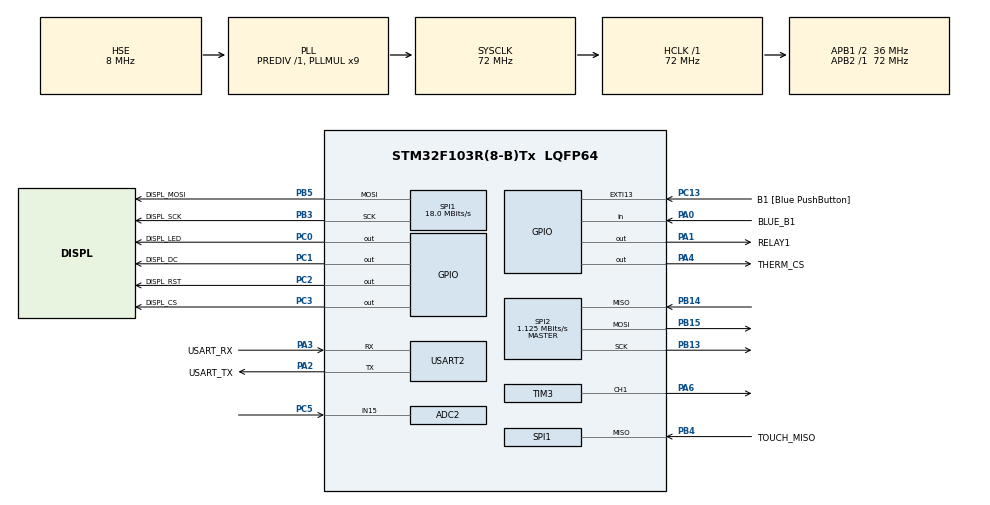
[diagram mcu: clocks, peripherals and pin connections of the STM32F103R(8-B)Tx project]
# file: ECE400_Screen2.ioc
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ADC1.Channel-0\#ChannelRegularConversion=ADC_CHANNEL_TEMPSENSOR
ADC1.ContinuousConvMode=ENABLE
ADC1.NbrOfConversionFlag=1
ADC1.Rank-0\#ChannelRegularConversion=1
ADC1.SamplingTime-0\#ChannelRegularConversion=ADC_SAMPLETIME_1CYCLE_5
ADC1.master=1
ADC2.Channel-1\#ChannelRegularConversion=ADC_CHANNEL_15
ADC2.ContinuousConvMode=ENABLE
ADC2.NbrOfConversionFlag=1
ADC2.Rank-1\#ChannelRegularConversion=1
ADC2.SamplingTime-1\#ChannelRegularConversion=ADC_SAMPLETIME_1CYCLE_5
Mcu.Family=STM32F1
Mcu.Name=STM32F103R(8-B)Tx
Mcu.Package=LQFP64
NVIC.EXTI15_10_IRQn=true\:0\:0\:false\:false\:true\:true\:true\:true
NVIC.PriorityGroup=NVIC_PRIORITYGROUP_4
NVIC.TIM2_IRQn=true\:0\:0\:false\:false\:true\:true\:true\:true
PA0-WKUP.GPIO_Label=BLUE_B1
PA0-WKUP.GPIO_PuPd=GPIO_PULLDOWN
PA0-WKUP.Signal=GPIO_Input
PA1.GPIO_Label=RELAY1
PA1.Signal=GPIO_Output
PA13.GPIO_Label=TMS
PA13.Mode=Serial_Wire
PA13.Signal=SYS_JTMS-SWDIO
PA14.GPIO_Label=TCK
PA14.Mode=Serial_Wire
PA14.Signal=SYS_JTCK-SWCLK
PA2.GPIO_Label=USART_TX
PA2.GPIO_Mode=GPIO_MODE_AF_PP
PA2.GPIO_PuPd=GPIO_NOPULL
PA2.GPIO_Speed=GPIO_SPEED_FREQ_LOW
PA2.Mode=Asynchronous
PA2.Signal=USART2_TX
PA3.GPIO_Label=USART_RX
PA3.GPIO_Mode=GPIO_MODE_AF_PP
PA3.GPIO_PuPd=GPIO_NOPULL
PA3.GPIO_Speed=GPIO_SPEED_FREQ_LOW
PA3.Mode=Asynchronous
PA3.Signal=USART2_RX
PA4.GPIO_Label=THERM_CS
PA4.Signal=GPIO_Output
PA6.Signal=S_TIM3_CH1
PB13.Mode=Full_Duplex_Master
PB13.Signal=SPI2_SCK
PB14.Mode=Full_Duplex_Master
PB14.Signal=SPI2_MISO
PB15.Mode=Full_Duplex_Master
PB15.Signal=SPI2_MOSI
PB3.GPIO_Label=DISPL_SCK
PB3.Mode=Full_Duplex_Master
PB3.Signal=SPI1_SCK
PB4.GPIO_Label=TOUCH_MISO
PB4.Mode=Full_Duplex_Master
PB4.Signal=SPI1_MISO
PB5.GPIO_Label=DISPL_MOSI
PB5.Mode=Full_Duplex_Master
PB5.Signal=SPI1_MOSI
PC0.GPIO_Label=DISPL_LED
PC0.Signal=GPIO_Output
PC1.GPIO_Label=DISPL_DC
PC1.Signal=GPIO_Output
PC13-TAMPER-RTC.GPIO_Label=B1 [Blue PushButton]
PC13-TAMPER-RTC.GPIO_PuPd=GPIO_NOPULL
PC13-TAMPER-RTC.Signal=GPXTI13
PC14-OSC32_IN.Mode=LSE-External-Oscillator
PC14-OSC32_IN.Signal=RCC_OSC32_IN
PC15-OSC32_OUT.Mode=LSE-External-Oscillator
PC15-OSC32_OUT.Signal=RCC_OSC32_OUT
PC2.GPIO_Label=DISPL_RST
PC2.Signal=GPIO_Output
PC3.GPIO_Label=DISPL_CS
PC3.GPIO_Speed=GPIO_SPEED_FREQ_LOW
PC3.PinState=GPIO_PIN_SET
PC3.Signal=GPIO_Output
PC5.Signal=ADCx_IN15
PD0-OSC_IN.Mode=HSE-External-Clock-Source
PD0-OSC_IN.Signal=RCC_OSC_IN
PD1-OSC_OUT.Mode=HSE-External-Clock-Source
PD1-OSC_OUT.Signal=RCC_OSC_OUT
ProjectManager.HeapSize=0x200
ProjectManager.StackSize=0x400
ProjectManager.TargetToolchain=STM32CubeIDE
RCC.ADCPresc=RCC_ADCPCLK2_DIV6
RCC.AHBFreq_Value=72000000
RCC.APB1CLKDivider=RCC_HCLK_DIV2
RCC.APB1Freq_Value=36000000
RCC.APB1TimFreq_Value=72000000
RCC.APB2Freq_Value=72000000
RCC.APB2TimFreq_Value=72000000
RCC.HCLKFreq_Value=72000000
RCC.PLLMUL=RCC_PLL_MUL9
RCC.PLLSourceVirtual=RCC_PLLSOURCE_HSE
RCC.RTCClockSelection=RCC_RTCCLKSOURCE_LSE
RCC.SYSCLKFreq_VALUE=72000000
RCC.SYSCLKSource=RCC_SYSCLKSOURCE_PLLCLK
RCC.USBFreq_Value=72000000
SH.ADCx_IN15.0=ADC2_IN15,IN15
SH.S_TIM3_CH1.0=TIM3_CH1,PWM Generation1 CH1
SPI1.BaudRatePrescaler=SPI_BAUDRATEPRESCALER_4
SPI1.CalculateBaudRate=18.0 MBits/s
SPI1.Direction=SPI_DIRECTION_2LINES
SPI1.Mode=SPI_MODE_MASTER
SPI1.VirtualType=VM_MASTER
SPI2.BaudRatePrescaler=SPI_BAUDRATEPRESCALER_32
SPI2.CalculateBaudRate=1.125 MBits/s
SPI2.Direction=SPI_DIRECTION_2LINES
SPI2.Mode=SPI_MODE_MASTER
SPI2.VirtualType=VM_MASTER
TIM2.Period=666
TIM2.Prescaler=7199
TIM3.Channel-PWM\ Generation1\ CH1=TIM_CHANNEL_1
USART2.VirtualMode=VM_ASYNC
VP_ADC1_TempSens_Input.Mode=IN-TempSens
VP_ADC1_Vref_Input.Mode=IN-Vrefint
VP_TIM2_VS_ClockSourceINT.Mode=Internal
VP_TIM3_VS_ClockSourceINT.Mode=Internal
board=NUCLEO-F103RB

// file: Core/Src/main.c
/* USER CODE BEGIN Header */
/**
  ******************************************************************************
  * @file           : main.c
  * @brief          : Main program body
  ******************************************************************************
  * @attention
  *
  * Copyright (c) 2025 STMicroelectronics.
  * All rights reserved.
  *
  * This software is licensed under terms that can be found in the LICENSE file
  * in the root directory of this software component.
  * If no LICENSE file comes with this software, it is provided AS-IS.
  *
  ******************************************************************************
  */
/* USER CODE END Header */
#include "main.h"

/* USER CODE BEGIN Includes */
#include "menus.h" // This makes menus.c active, with all its functions (struct defined in menus.c)
#include "max31856.h"
/* USER CODE END Includes */

ADC_HandleTypeDef hadc1;
ADC_HandleTypeDef hadc2;

SPI_HandleTypeDef hspi1;
SPI_HandleTypeDef hspi2;

TIM_HandleTypeDef htim2;
TIM_HandleTypeDef htim3;

UART_HandleTypeDef huart2;

void SystemClock_Config(void);
static void MX_GPIO_Init(void);
static void MX_USART2_UART_Init(void);
static void MX_SPI1_Init(void);
static void MX_ADC1_Init(void);
static void MX_TIM3_Init(void);
static void MX_ADC2_Init(void);
static void MX_SPI2_Init(void);
static void MX_TIM2_Init(void);

/* USER CODE BEGIN 0 */
volatile uint8_t tim4Flag=0;
volatile uint8_t counter=0;
void HAL_TIM_PeriodElapsedCallback(TIM_HandleTypeDef *htim)
{
  // Check if the interrupt is from your timer
  if (htim->Instance == TIM2)
  {
	  tim4Flag = 1;
  }

}

#define ADC_FULL_SCALE     (4095.0f)
#define R_REF_OHMS         (2178.0f)   // your 2.2k
#define PT1000_R0          (1000.0f)
#define PT1000_A           (3.9083e-3f)
#define PT1000_B           (-5.775e-7f)
#define max_volt 		   (3.29)

static uint16_t PT1000_ReadAdcAvg(ADC_HandleTypeDef *hadc, uint8_t samples)
{
    uint32_t sum = 0;

    for (uint8_t i = 0; i < samples; i++)
    {
        HAL_ADC_Start(hadc);
        HAL_ADC_PollForConversion(hadc, HAL_MAX_DELAY);
        sum += HAL_ADC_GetValue(hadc);
        HAL_ADC_Stop(hadc);
    }

    return (uint16_t)(sum / samples);
}

static float PT1000_ResistanceFromAdc(uint16_t adc_raw)
{
    // Rrtd = Rref * adc / (FS - adc)
    //if (adc_raw >= 4095) adc_raw = 4094;
    if (adc_raw == 0)    return 0.0f;
    float voltagee = (adc_raw * max_volt) / ADC_FULL_SCALE; //voltage
    float currentt = (max_volt - voltagee) / R_REF_OHMS;

    return voltagee/ currentt;
    //return R_REF_OHMS * ((float)adc_raw) / (ADC_FULL_SCALE - (float)adc_raw);
}

static float PT1000_TempC_FromResistance(float r_ohms)
{
    // For T >= 0°C: R = R0(1 + A T + B T^2)
    // => B T^2 + A T + (1 - R/R0) = 0
    float c = 1.0f - (r_ohms / PT1000_R0);
    float disc = (PT1000_A * PT1000_A) - (4.0f * PT1000_B * c);

    if (disc < 0.0f) return 0.0f;
    return (-PT1000_A + sqrtf(disc)) / (2.0f * PT1000_B);
}

float PT1000_ReadTempC(void)
{
    const uint8_t N = 16;

    uint16_t pt1000_adc = PT1000_ReadAdcAvg(&hadc2, N);
    float r_rtd = PT1000_ResistanceFromAdc(pt1000_adc);
    float t_c = PT1000_TempC_FromResistance(r_rtd);

    return t_c;
}

static uint32_t adc_read_channel(uint32_t channel, uint32_t sample_time) {
    ADC_ChannelConfTypeDef sConfig = {0};
    sConfig.Channel = channel;
    sConfig.Rank = ADC_REGULAR_RANK_1;
    sConfig.SamplingTime = sample_time;
    HAL_ADC_ConfigChannel(&hadc1, &sConfig);

    HAL_ADC_Start(&hadc1);
    HAL_ADC_PollForConversion(&hadc1, HAL_MAX_DELAY);
    uint32_t raw = HAL_ADC_GetValue(&hadc1);
    HAL_ADC_Stop(&hadc1);
    return raw;
}

float get_temp(void)
{
	// Enable the internal temperature sensor + Vrefint
	// On F1, HAL enables TSVREFE when selecting ADC_CHANNEL_TEMPSENSOR/VREFINT,
	// but give it time to stabilize.
	HAL_Delay(10); // ~10 ms stabilization (conservative)

	// 1) Read VREFINT to estimate VDDA
	uint32_t raw_vref = adc_read_channel(ADC_CHANNEL_VREFINT, ADC_SAMPLETIME_239CYCLES_5);
	// Typical VREFINT is ~1.20 V
	const float VREFINT_TYP = 1.20f;
	float vdda = VREFINT_TYP * 4095.0f / (float)raw_vref;

	// 2) Read temperature sensor (requires long sampling time)
	uint32_t raw_temp = adc_read_channel(ADC_CHANNEL_TEMPSENSOR, ADC_SAMPLETIME_239CYCLES_5);
	float Vsense = vdda * (float)raw_temp / 4095.0f;

	// 3) Convert to °C using correct sign
	const float V25 = 1.43f;       // typ at 25°C
	const float AvgSlope = 0.0043f; // 4.3 mV/°C (positive constant)
	float temp_c = 25.0f + (V25 - Vsense) / AvgSlope;

	return temp_c;
}

/* USER CODE END 0 */

int main(void)
{

  /* USER CODE BEGIN 1 */
	uint16_t tls_adc;
	float temp;
	char word[40];
	uint8_t relay_on;

  /* USER CODE END 1 */

  /* MCU Configuration--------------------------------------------------------*/

  /* Reset of all peripherals, Initializes the Flash interface and the Systick. */
  HAL_Init();

  /* Configure the system clock */
  SystemClock_Config();

  /* Initialize all configured peripherals */
  MX_GPIO_Init();
  MX_USART2_UART_Init();
  MX_SPI1_Init();
  MX_ADC1_Init();
  MX_TIM3_Init();
  MX_ADC2_Init();
  MX_SPI2_Init();
  MX_TIM2_Init();
  /* USER CODE BEGIN 2 */
  HAL_Delay(1000);
  HAL_TIM_Base_Start_IT(&htim2);
  Displ_Init(Displ_Orientat_90);		// initialize the display and set the initial display orientation (here is orientaton: 0°) - THIS FUNCTION MUST PRECEED ANY OTHER DISPLAY FUNCTION CALL.
  Displ_CLS(CYAN);					// after initialization (above) and before turning on backlight (below), you can draw the initial display appearance. (here I'm just clearing display with a black background)
  Displ_BackLight('I');  			// initialize backlight and turn it on at init level
  MX_ADC1_Init();
//  tls_temp = HAL_ADC_GetValue(&hadc1);

  HAL_GPIO_WritePin(DISPL_LED_GPIO_Port, DISPL_LED_Pin, 1);

  max31856_t therm = {&hspi2, {THERM_CS_GPIO_Port, THERM_CS_Pin}};
  max31856_init(&therm);
  max31856_set_noise_filter(&therm, CR0_FILTER_OUT_60Hz);
  max31856_set_cold_junction_enable(&therm, CR0_CJ_ENABLED);
  max31856_set_thermocouple_type(&therm, CR1_TC_TYPE_K);
  max31856_set_average_samples(&therm, CR1_AVG_TC_SAMPLES_2);
  max31856_set_open_circuit_fault_detection(&therm, CR0_OC_DETECT_ENABLED_TC_LESS_2ms);
  max31856_set_conversion_mode(&therm, CR0_CONV_CONTINUOUS);

  max31856_read_fault(&therm);
  if (therm.sr.val) {
	  /* Handle thermocouple error */
	  Displ_CString(1, 100, 10, 100+24, "Fault :(", Font24, 1, WHITE, BLACK);
  }
    float therm_temp = max31856_read_TC_temp(&therm);

  uint8_t buf[3];
  max31856_read_nregisters(&therm, 0x0C, buf, 3);
  sprintf(word, "Raw TC: %02X %02X %02X", buf[0], buf[1], buf[2]);
  Displ_CString(1, 100, 10, 100+24, word, Font24, 1, WHITE, BLACK);
  uint8_t cj[2];
  max31856_read_nregisters(&therm, 0x0A, cj, 2);
  sprintf(word, "CJ raw: %02X %02X", cj[0], cj[1]);
  Displ_CString(1, 125, 10, 125+24, word, Font24, 1, WHITE, BLACK);
  uint8_t fault;
  max31856_read_nregisters(&therm, 0x0F, &fault, 1);
  sprintf(word, "Fault: 0x%02X", fault);
  Displ_CString(1, 150, 10, 150+24, word, Font24, 1, WHITE, BLACK);
  max31856_set_conversion_mode(&therm, CR0_CONV_CONTINUOUS);

  HAL_Delay(200);
  max31856_read_nregisters(&therm, 0x0F, &fault, 1);
  sprintf(word, "Fault delayed: 0x%02X", fault);
  Displ_CString(1, 175, 10, 175+24, word, Font24, 1, WHITE, BLACK);
  uint8_t cfg;
  max31856_read_nregisters(&therm, 0x00, &cfg, 1);
  sprintf(word, "Config: 0x%02X", cfg);
  Displ_CString(1, 200, 10, 200+24, word, Font24, 1, WHITE, BLACK);

  /* USER CODE END 2 */

  /* Infinite loop */
  while (1)
  {

    /* USER CODE BEGIN 3 */

	  temp = get_temp();
	  sprintf(word, "STM32 Temp: %.2f C", temp);
	  Displ_CString(1, 1, 10, 24, word, Font24, 1, WHITE, BLACK);

	  //	  HAL_ADC_Start(&hadc2);
	  //	  HAL_ADC_PollForConversion(&hadc2, HAL_MAX_DELAY);
	  //	  tls_adc = HAL_ADC_GetValue(&hadc2);
	  //	  sprintf(word, "ADC Val: %5d", tls_adc);
	  //	  Displ_CString(1, 50, 10, 50+24, word, Font24, 1, WHITE, BLACK);
	  	  float t = PT1000_ReadTempC();
	  	  if (t<10)
	  	  {
	  		sprintf(word, "PT1000:   %.2f C", t);
	  	  }
	  	  else{if (t<100)
	  	  {
		  	 sprintf(word, "PT1000:  %.2f C", t);
	  	  }
	  	  else
	  	  {
	  		 sprintf(word, "PT1000: %.2f C", t);
	  	  }}
	  	  Displ_CString(1, 50, 10, 50+24, word, Font24, 1, WHITE, BLACK);

	  if (tim4Flag)
	  {
		  therm_temp = max31856_read_TC_temp(&therm);
		sprintf(word, "TLS Temp: %.2f C", therm_temp);
		Displ_CString(1, 25, 10, 25+24, word, Font24, 1, WHITE, BLACK);

		sprintf(word, "%3d", counter++);
		Displ_CString(1, 295, 10, 295+24, word, Font24, 1, WHITE, BLACK);
		tim4Flag = 0;
	  }

	  if(HAL_GPIO_ReadPin(BLUE_B1_GPIO_Port, BLUE_B1_Pin))
	  {
		  if(relay_on)
		  {
			  Displ_CString(1, 75, 10, 75+24, "OFF", Font24, 1, WHITE, MAGENTA);
			  HAL_GPIO_WritePin(RELAY1_GPIO_Port, RELAY1_Pin, 0);
			  relay_on = 0;
		  }
		  else
		  {
			  Displ_CString(1, 75, 10, 75+24, " ON", Font24, 1, WHITE, MAGENTA);
			  HAL_GPIO_WritePin(RELAY1_GPIO_Port, RELAY1_Pin, 1);
			  relay_on = 1;
		  }
		  while(HAL_GPIO_ReadPin(BLUE_B1_GPIO_Port, BLUE_B1_Pin)){}
	  }
  }
  /* USER CODE END 3 */
}

void SystemClock_Config(void)
{
  RCC_OscInitTypeDef RCC_OscInitStruct = {0};
  RCC_ClkInitTypeDef RCC_ClkInitStruct = {0};
  RCC_PeriphCLKInitTypeDef PeriphClkInit = {0};

  /** Initializes the RCC Oscillators according to the specified parameters
  * in the RCC_OscInitTypeDef structure.
  */
  RCC_OscInitStruct.OscillatorType = RCC_OSCILLATORTYPE_HSE;
  RCC_OscInitStruct.HSEState = RCC_HSE_BYPASS;
  RCC_OscInitStruct.HSEPredivValue = RCC_HSE_PREDIV_DIV1;
  RCC_OscInitStruct.HSIState = RCC_HSI_ON;
  RCC_OscInitStruct.PLL.PLLState = RCC_PLL_ON;
  RCC_OscInitStruct.PLL.PLLSource = RCC_PLLSOURCE_HSE;
  RCC_OscInitStruct.PLL.PLLMUL = RCC_PLL_MUL9;
  if (HAL_RCC_OscConfig(&RCC_OscInitStruct) != HAL_OK)
  {
    Error_Handler();
  }

  /** Initializes the CPU, AHB and APB buses clocks
  */
  RCC_ClkInitStruct.ClockType = RCC_CLOCKTYPE_HCLK|RCC_CLOCKTYPE_SYSCLK
                              |RCC_CLOCKTYPE_PCLK1|RCC_CLOCKTYPE_PCLK2;
  RCC_ClkInitStruct.SYSCLKSource = RCC_SYSCLKSOURCE_PLLCLK;
  RCC_ClkInitStruct.AHBCLKDivider = RCC_SYSCLK_DIV1;
  RCC_ClkInitStruct.APB1CLKDivider = RCC_HCLK_DIV2;
  RCC_ClkInitStruct.APB2CLKDivider = RCC_HCLK_DIV1;

  if (HAL_RCC_ClockConfig(&RCC_ClkInitStruct, FLASH_LATENCY_2) != HAL_OK)
  {
    Error_Handler();
  }
  PeriphClkInit.PeriphClockSelection = RCC_PERIPHCLK_ADC;
  PeriphClkInit.AdcClockSelection = RCC_ADCPCLK2_DIV6;
  if (HAL_RCCEx_PeriphCLKConfig(&PeriphClkInit) != HAL_OK)
  {
    Error_Handler();
  }
}

static void MX_ADC1_Init(void)
{

  ADC_ChannelConfTypeDef sConfig = {0};

  /** Common config
  */
  hadc1.Instance = ADC1;
  hadc1.Init.ScanConvMode = ADC_SCAN_DISABLE;
  hadc1.Init.ContinuousConvMode = ENABLE;
  hadc1.Init.DiscontinuousConvMode = DISABLE;
  hadc1.Init.ExternalTrigConv = ADC_SOFTWARE_START;
  hadc1.Init.DataAlign = ADC_DATAALIGN_RIGHT;
  hadc1.Init.NbrOfConversion = 1;
  if (HAL_ADC_Init(&hadc1) != HAL_OK)
  {
    Error_Handler();
  }

  /** Configure Regular Channel
  */
  sConfig.Channel = ADC_CHANNEL_TEMPSENSOR;
  sConfig.Rank = ADC_REGULAR_RANK_1;
  sConfig.SamplingTime = ADC_SAMPLETIME_1CYCLE_5;
  if (HAL_ADC_ConfigChannel(&hadc1, &sConfig) != HAL_OK)
  {
    Error_Handler();
  }

}

static void MX_ADC2_Init(void)
{

  ADC_ChannelConfTypeDef sConfig = {0};

  /** Common config
  */
  hadc2.Instance = ADC2;
  hadc2.Init.ScanConvMode = ADC_SCAN_DISABLE;
  hadc2.Init.ContinuousConvMode = ENABLE;
  hadc2.Init.DiscontinuousConvMode = DISABLE;
  hadc2.Init.ExternalTrigConv = ADC_SOFTWARE_START;
  hadc2.Init.DataAlign = ADC_DATAALIGN_RIGHT;
  hadc2.Init.NbrOfConversion = 1;
  if (HAL_ADC_Init(&hadc2) != HAL_OK)
  {
    Error_Handler();
  }

  /** Configure Regular Channel
  */
  sConfig.Channel = ADC_CHANNEL_15;
  sConfig.Rank = ADC_REGULAR_RANK_1;
  sConfig.SamplingTime = ADC_SAMPLETIME_1CYCLE_5;
  if (HAL_ADC_ConfigChannel(&hadc2, &sConfig) != HAL_OK)
  {
    Error_Handler();
  }

}

static void MX_SPI1_Init(void)
{

  /* SPI1 parameter configuration*/
  hspi1.Instance = SPI1;
  hspi1.Init.Mode = SPI_MODE_MASTER;
  hspi1.Init.Direction = SPI_DIRECTION_2LINES;
  hspi1.Init.DataSize = SPI_DATASIZE_8BIT;
  hspi1.Init.CLKPolarity = SPI_POLARITY_LOW;
  hspi1.Init.CLKPhase = SPI_PHASE_1EDGE;
  hspi1.Init.NSS = SPI_NSS_SOFT;
  hspi1.Init.BaudRatePrescaler = SPI_BAUDRATEPRESCALER_4;
  hspi1.Init.FirstBit = SPI_FIRSTBIT_MSB;
  hspi1.Init.TIMode = SPI_TIMODE_DISABLE;
  hspi1.Init.CRCCalculation = SPI_CRCCALCULATION_DISABLE;
  hspi1.Init.CRCPolynomial = 10;
  if (HAL_SPI_Init(&hspi1) != HAL_OK)
  {
    Error_Handler();
  }

}

static void MX_SPI2_Init(void)
{

  /* SPI2 parameter configuration*/
  hspi2.Instance = SPI2;
  hspi2.Init.Mode = SPI_MODE_MASTER;
  hspi2.Init.Direction = SPI_DIRECTION_2LINES;
  hspi2.Init.DataSize = SPI_DATASIZE_8BIT;
  hspi2.Init.CLKPolarity = SPI_POLARITY_LOW;
  hspi2.Init.CLKPhase = SPI_PHASE_1EDGE;
  hspi2.Init.NSS = SPI_NSS_SOFT;
  hspi2.Init.BaudRatePrescaler = SPI_BAUDRATEPRESCALER_32;
  hspi2.Init.FirstBit = SPI_FIRSTBIT_MSB;
  hspi2.Init.TIMode = SPI_TIMODE_DISABLE;
  hspi2.Init.CRCCalculation = SPI_CRCCALCULATION_DISABLE;
  hspi2.Init.CRCPolynomial = 10;
  if (HAL_SPI_Init(&hspi2) != HAL_OK)
  {
    Error_Handler();
  }

}

static void MX_TIM2_Init(void)
{

  TIM_ClockConfigTypeDef sClockSourceConfig = {0};
  TIM_MasterConfigTypeDef sMasterConfig = {0};

  htim2.Instance = TIM2;
  htim2.Init.Prescaler = 7199;
  htim2.Init.CounterMode = TIM_COUNTERMODE_UP;
  htim2.Init.Period = 666;
  htim2.Init.ClockDivision = TIM_CLOCKDIVISION_DIV1;
  htim2.Init.AutoReloadPreload = TIM_AUTORELOAD_PRELOAD_DISABLE;
  if (HAL_TIM_Base_Init(&htim2) != HAL_OK)
  {
    Error_Handler();
  }
  sClockSourceConfig.ClockSource = TIM_CLOCKSOURCE_INTERNAL;
  if (HAL_TIM_ConfigClockSource(&htim2, &sClockSourceConfig) != HAL_OK)
  {
    Error_Handler();
  }
  sMasterConfig.MasterOutputTrigger = TIM_TRGO_RESET;
  sMasterConfig.MasterSlaveMode = TIM_MASTERSLAVEMODE_DISABLE;
  if (HAL_TIMEx_MasterConfigSynchronization(&htim2, &sMasterConfig) != HAL_OK)
  {
    Error_Handler();
  }

}

static void MX_TIM3_Init(void)
{

  TIM_ClockConfigTypeDef sClockSourceConfig = {0};
  TIM_MasterConfigTypeDef sMasterConfig = {0};
  TIM_OC_InitTypeDef sConfigOC = {0};

  htim3.Instance = TIM3;
  htim3.Init.Prescaler = 0;
  htim3.Init.CounterMode = TIM_COUNTERMODE_UP;
  htim3.Init.Period = 65535;
  htim3.Init.ClockDivision = TIM_CLOCKDIVISION_DIV1;
  htim3.Init.AutoReloadPreload = TIM_AUTORELOAD_PRELOAD_DISABLE;
  if (HAL_TIM_Base_Init(&htim3) != HAL_OK)
  {
    Error_Handler();
  }
  sClockSourceConfig.ClockSource = TIM_CLOCKSOURCE_INTERNAL;
  if (HAL_TIM_ConfigClockSource(&htim3, &sClockSourceConfig) != HAL_OK)
  {
    Error_Handler();
  }
  if (HAL_TIM_PWM_Init(&htim3) != HAL_OK)
  {
    Error_Handler();
  }
  sMasterConfig.MasterOutputTrigger = TIM_TRGO_RESET;
  sMasterConfig.MasterSlaveMode = TIM_MASTERSLAVEMODE_DISABLE;
  if (HAL_TIMEx_MasterConfigSynchronization(&htim3, &sMasterConfig) != HAL_OK)
  {
    Error_Handler();
  }
  sConfigOC.OCMode = TIM_OCMODE_PWM1;
  sConfigOC.Pulse = 0;
  sConfigOC.OCPolarity = TIM_OCPOLARITY_HIGH;
  sConfigOC.OCFastMode = TIM_OCFAST_DISABLE;
  if (HAL_TIM_PWM_ConfigChannel(&htim3, &sConfigOC, TIM_CHANNEL_1) != HAL_OK)
  {
    Error_Handler();
  }
  HAL_TIM_MspPostInit(&htim3);

}

static void MX_USART2_UART_Init(void)
{

  huart2.Instance = USART2;
  huart2.Init.BaudRate = 115200;
  huart2.Init.WordLength = UART_WORDLENGTH_8B;
  huart2.Init.StopBits = UART_STOPBITS_1;
  huart2.Init.Parity = UART_PARITY_NONE;
  huart2.Init.Mode = UART_MODE_TX_RX;
  huart2.Init.HwFlowCtl = UART_HWCONTROL_NONE;
  huart2.Init.OverSampling = UART_OVERSAMPLING_16;
  if (HAL_UART_Init(&huart2) != HAL_OK)
  {
    Error_Handler();
  }

}

static void MX_GPIO_Init(void)
{
  GPIO_InitTypeDef GPIO_InitStruct = {0};

  /* GPIO Ports Clock Enable */
  __HAL_RCC_GPIOC_CLK_ENABLE();
  __HAL_RCC_GPIOD_CLK_ENABLE();
  __HAL_RCC_GPIOA_CLK_ENABLE();
  __HAL_RCC_GPIOB_CLK_ENABLE();

  /*Configure GPIO pin Output Level */
  HAL_GPIO_WritePin(GPIOC, DISPL_LED_Pin|DISPL_DC_Pin|DISPL_RST_Pin, GPIO_PIN_RESET);

  /*Configure GPIO pin Output Level */
  HAL_GPIO_WritePin(DISPL_CS_GPIO_Port, DISPL_CS_Pin, GPIO_PIN_SET);

  /*Configure GPIO pin Output Level */
  HAL_GPIO_WritePin(GPIOA, RELAY1_Pin|THERM_CS_Pin, GPIO_PIN_RESET);

  /*Configure GPIO pin : B1_Pin */
  GPIO_InitStruct.Pin = B1_Pin;
  GPIO_InitStruct.Mode = GPIO_MODE_IT_RISING;
  GPIO_InitStruct.Pull = GPIO_NOPULL;
  HAL_GPIO_Init(B1_GPIO_Port, &GPIO_InitStruct);

  /*Configure GPIO pins : DISPL_LED_Pin DISPL_DC_Pin DISPL_RST_Pin DISPL_CS_Pin */
  GPIO_InitStruct.Pin = DISPL_LED_Pin|DISPL_DC_Pin|DISPL_RST_Pin|DISPL_CS_Pin;
  GPIO_InitStruct.Mode = GPIO_MODE_OUTPUT_PP;
  GPIO_InitStruct.Pull = GPIO_NOPULL;
  GPIO_InitStruct.Speed = GPIO_SPEED_FREQ_LOW;
  HAL_GPIO_Init(GPIOC, &GPIO_InitStruct);

  /*Configure GPIO pin : BLUE_B1_Pin */
  GPIO_InitStruct.Pin = BLUE_B1_Pin;
  GPIO_InitStruct.Mode = GPIO_MODE_INPUT;
  GPIO_InitStruct.Pull = GPIO_PULLDOWN;
  HAL_GPIO_Init(BLUE_B1_GPIO_Port, &GPIO_InitStruct);

  /*Configure GPIO pins : RELAY1_Pin THERM_CS_Pin */
  GPIO_InitStruct.Pin = RELAY1_Pin|THERM_CS_Pin;
  GPIO_InitStruct.Mode = GPIO_MODE_OUTPUT_PP;
  GPIO_InitStruct.Pull = GPIO_NOPULL;
  GPIO_InitStruct.Speed = GPIO_SPEED_FREQ_LOW;
  HAL_GPIO_Init(GPIOA, &GPIO_InitStruct);

  /* EXTI interrupt init*/
  HAL_NVIC_SetPriority(EXTI15_10_IRQn, 0, 0);
  HAL_NVIC_EnableIRQ(EXTI15_10_IRQn);

}

void Error_Handler(void)
{
  __disable_irq();
  while (1)
  {
  }
}
